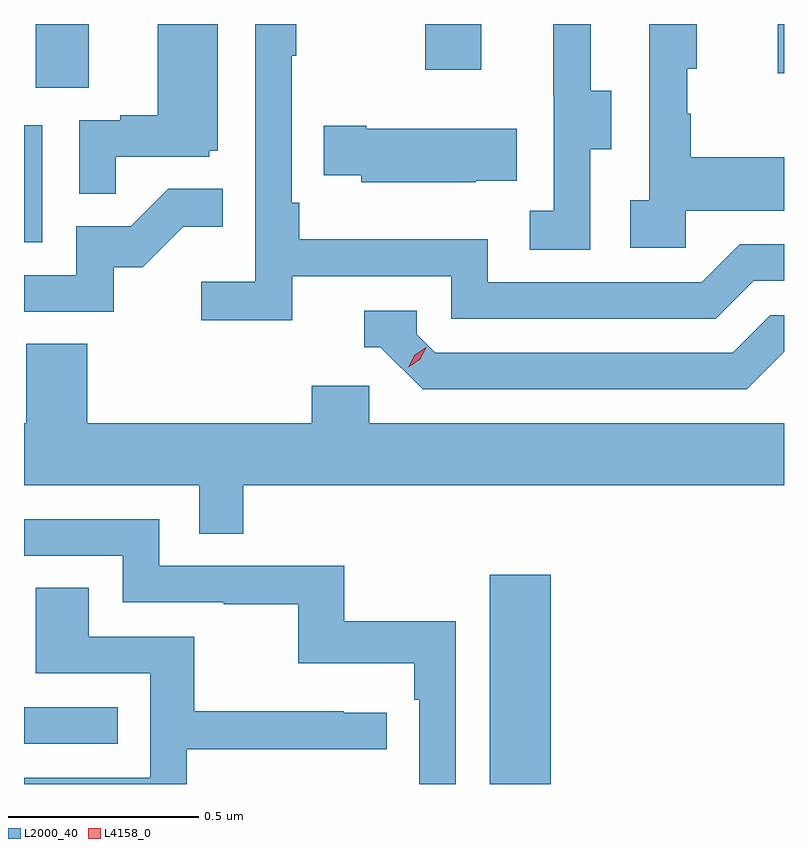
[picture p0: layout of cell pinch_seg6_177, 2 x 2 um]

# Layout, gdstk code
import gdstk
lib = gdstk.Library(unit=1e-6, precision=1e-09)
def R(c, l, rs):  # rectangles x0, y0, x1, y1
    for r in rs: c.add(gdstk.rectangle(r[:2], r[2:], *l))
def P(c, l, *ps):  # polygons
    for p in ps: c.add(gdstk.Polygon(p, *l))
L2000_40 = (2000, 40)
L4158_0 = (4158, 0)

pinch_seg6_177 = lib.new_cell('pinch_seg6_177')
R(pinch_seg6_177, L2000_40, [(1034.237,926.57,1034.398,927.121), (1033.012,926.676,1033.259,926.772), (1033.012,927.996,1033.06,928.303), (1033.043,928.402,1033.183,928.57), (1034.996,928.44,1035.012,928.57), (1034.068,928.449,1034.215,928.57)])
P(pinch_seg6_177, L2000_40, [(1033.253,928.221),(1033.5,928.221),(1033.5,928.236),(1033.522,928.236),(1033.522,928.57),(1033.364,928.57),(1033.364,928.33),(1033.265,928.33),(1033.265,928.317),(1033.158,928.317),(1033.158,928.123),(1033.253,928.123)],
  [(1034.502,928.24),(1034.557,928.24),(1034.557,928.395),(1034.503,928.395),(1034.503,928.57),(1034.405,928.57),(1034.405,928.383),(1034.406,928.383),(1034.406,928.079),(1034.343,928.079),(1034.343,927.976),(1034.502,927.976)],
  [(1034.754,928.079),(1035.012,928.079),(1035.012,928.219),(1034.767,928.219),(1034.767,928.334),(1034.757,928.334),(1034.757,928.452),(1034.782,928.452),(1034.782,928.57),(1034.658,928.57),(1034.658,928.106),(1034.607,928.106),(1034.607,927.981),(1034.754,927.981)],
  [(1033.718,927.906),(1034.136,927.906),(1034.136,927.795),(1034.833,927.795),(1034.932,927.894),(1035.012,927.894),(1035.012,927.99),(1034.895,927.99),(1034.796,927.891),(1034.232,927.891),(1034.232,928.003),(1033.736,928.003),(1033.736,928.099),(1033.716,928.099),(1033.716,928.487),(1033.728,928.487),(1033.728,928.57),(1033.62,928.57),(1033.62,927.892),(1033.478,927.892),(1033.478,927.79),(1033.718,927.79)],
  [(1034.201,928.157),(1034.309,928.157),(1034.309,928.294),(1033.912,928.294),(1033.912,928.302),(1033.801,928.302),(1033.801,928.172),(1033.899,928.172),(1033.899,928.154),(1034.201,928.154)],
  [(1033.248,927.93),(1033.324,927.93),(1033.431,928.037),(1033.535,928.037),(1033.535,928.136),(1033.391,928.136),(1033.293,928.038),(1033.149,928.038),(1033.149,927.909),(1033.012,927.909),(1033.012,927.813),(1033.248,927.813)],
  [(1035.012,927.707),(1035.012,927.804),(1034.976,927.804),(1034.877,927.705),(1034.094,927.705),(1034.046,927.753),(1034.046,927.816),(1033.907,927.816),(1033.907,927.72),(1033.95,927.72),(1034.061,927.609),(1034.914,927.609)],
  [(1033.589,927.356),(1035.012,927.356),(1035.012,927.52),(1033.92,927.52),(1033.92,927.618),(1033.769,927.618),(1033.769,927.52),(1033.178,927.52),(1033.178,927.728),(1033.018,927.728),(1033.018,927.52),(1033.012,927.52),(1033.012,927.356),(1033.473,927.356),(1033.473,927.229),(1033.589,927.229)],
  [(1034.148,926.998),(1033.855,926.998),(1033.855,927.144),(1033.368,927.144),(1033.368,927.267),(1033.012,927.267),(1033.012,927.171),(1033.272,927.171),(1033.272,927.048),(1033.537,927.048),(1033.537,927.043),(1033.734,927.043),(1033.734,926.888),(1034.039,926.888),(1034.039,926.792),(1034.052,926.792),(1034.052,926.57),(1034.148,926.57)],
  [(1033.44,926.661),(1033.966,926.661),(1033.966,926.757),(1033.853,926.757),(1033.853,926.762),(1033.46,926.762),(1033.46,926.958),(1033.183,926.958),(1033.183,927.086),(1033.043,927.086),(1033.043,926.862),(1033.344,926.862),(1033.344,926.586),(1033.012,926.586),(1033.012,926.57),(1033.44,926.57)])
P(pinch_seg6_177, L4158_0, [(1034.023,927.667),(1034.023,927.667),(1034.04,927.699),(1034.07,927.719),(1034.071,927.719),(1034.071,927.718),(1034.054,927.686),(1034.023,927.667)])

lib.write_gds('pinch_seg6_177.gds')
